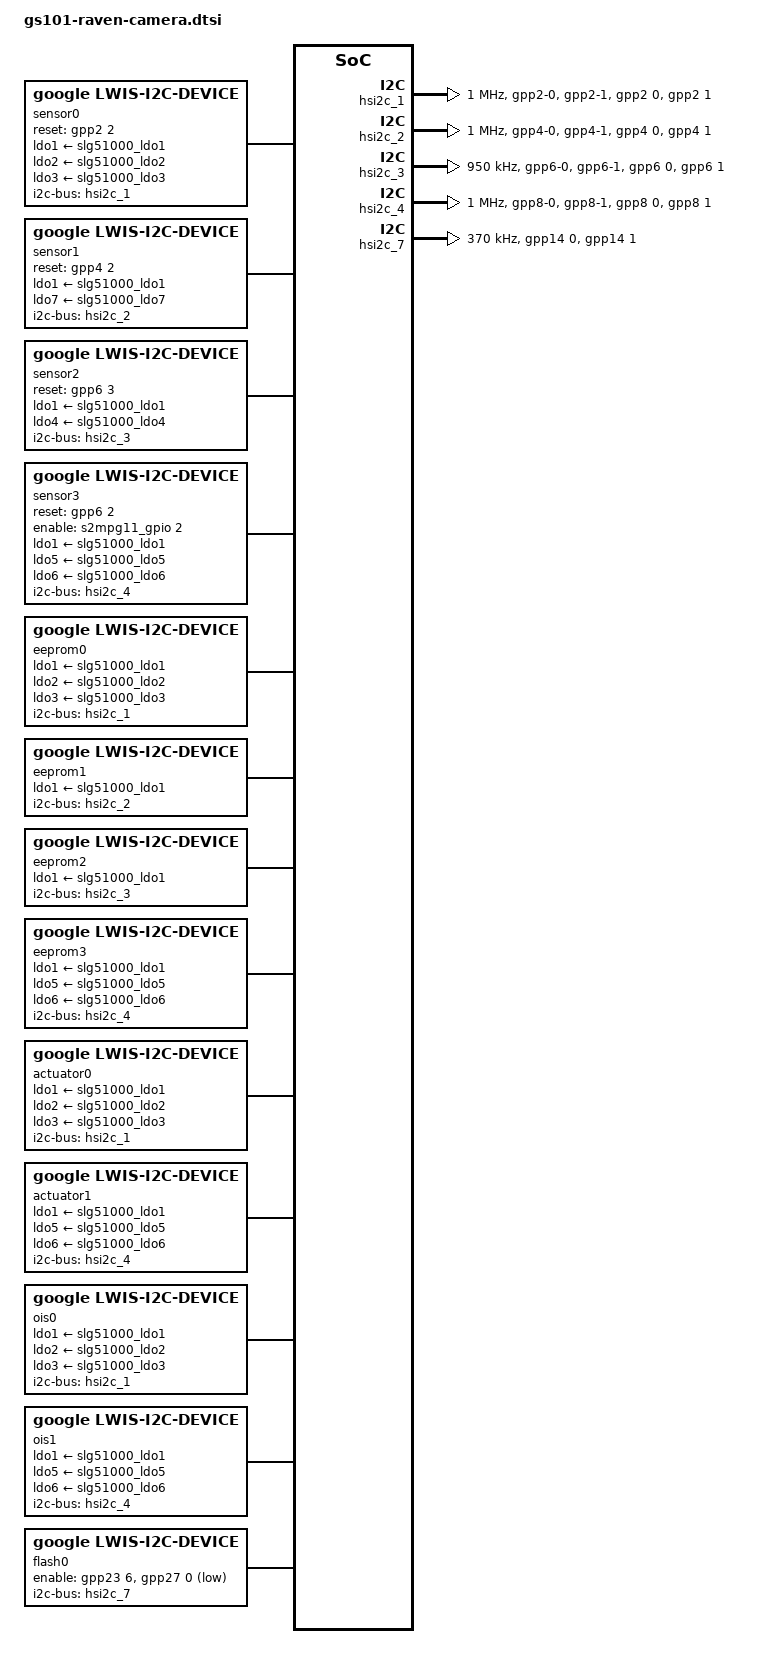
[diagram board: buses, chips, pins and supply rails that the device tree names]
// SPDX-License-Identifier: GPL-2.0-only
/*
 * gs101 camera lwis device tree source for raven
 *
 * Copyright 2020 Google LLC.
 *
 */

#include <dt-bindings/clock/gs101.h>
#include <dt-bindings/gpio/gpio.h>
#include <dt-bindings/pinctrl/samsung.h>

&pinctrl_4 {
	hsi2c1_bus: hsi2c1-bus {
		samsung,pin-pud = <EXYNOS_PIN_PULL_UP>;
	};

	hsi2c1_bus_in: hsi2c1-bus-in {
		samsung,pins = "gpp2-0", "gpp2-1";
		samsung,pin-function = <EXYNOS_PIN_FUNC_INPUT>;
		samsung,pin-pud = <EXYNOS_PIN_PULL_NONE>;
		samsung,pin-drv = <GS101_PIN_DRV_2_5_MA>;
	};

	hsi2c2_bus: hsi2c2-bus {
		samsung,pin-pud = <EXYNOS_PIN_PULL_UP>;
	};

	hsi2c2_bus_in: hsi2c2-bus-in {
		samsung,pins = "gpp4-0", "gpp4-1";
		samsung,pin-function = <EXYNOS_PIN_FUNC_INPUT>;
		samsung,pin-pud = <EXYNOS_PIN_PULL_NONE>;
		samsung,pin-drv = <GS101_PIN_DRV_2_5_MA>;
	};

	hsi2c3_bus: hsi2c3-bus {
		samsung,pin-pud = <EXYNOS_PIN_PULL_UP>;
	};

	hsi2c3_bus_in: hsi2c3-bus-in {
		samsung,pins = "gpp6-0", "gpp6-1";
		samsung,pin-function = <EXYNOS_PIN_FUNC_INPUT>;
		samsung,pin-pud = <EXYNOS_PIN_PULL_NONE>;
		samsung,pin-drv = <GS101_PIN_DRV_2_5_MA>;
	};

	hsi2c4_bus: hsi2c4-bus {
		samsung,pin-pud = <EXYNOS_PIN_PULL_UP>;
	};

	hsi2c4_bus_in: hsi2c4-bus-in {
		samsung,pins = "gpp8-0", "gpp8-1";
		samsung,pin-function = <EXYNOS_PIN_FUNC_INPUT>;
		samsung,pin-pud = <EXYNOS_PIN_PULL_NONE>;
		samsung,pin-drv = <GS101_PIN_DRV_2_5_MA>;
	};
};

&spi14_cs2{
	samsung,pin-con-pdn = <EXYNOS_PIN_PDN_PREV>;
	samsung,pin-pud-pdn = <EXYNOS_PIN_PULL_NONE>;
};

&hsi2c_1 {
	#address-cells = <1>;
	#size-cells = <0>;
	gpios = <&gpp2 0 GPIO_ACTIVE_HIGH &gpp2 1 GPIO_ACTIVE_HIGH>;
	status = "okay";
	clock-frequency = <1000000>;
	samsung,reset-before-trans;

	pinctrl-names = "default","on_i2c","off_i2c";
	pinctrl-0 = <&hsi2c1_bus_in>;
	pinctrl-1 = <&hsi2c1_bus>;
	pinctrl-2 = <&hsi2c1_bus_in>;
};

&hsi2c_2 {
	#address-cells = <1>;
	#size-cells = <0>;
	gpios = <&gpp4 0 GPIO_ACTIVE_HIGH &gpp4 1 GPIO_ACTIVE_HIGH>;
	status = "okay";
	clock-frequency = <1000000>;
	samsung,reset-before-trans;

	pinctrl-names = "default","on_i2c","off_i2c";
	pinctrl-0 = <&hsi2c2_bus_in>;
	pinctrl-1 = <&hsi2c2_bus>;
	pinctrl-2 = <&hsi2c2_bus_in>;
};

&hsi2c_3 {
	#address-cells = <1>;
	#size-cells = <0>;
	gpios = <&gpp6 0 GPIO_ACTIVE_HIGH &gpp6 1 GPIO_ACTIVE_HIGH>;
	status = "okay";
	clock-frequency = <950000>;
	samsung,reset-before-trans;

	pinctrl-names = "default","on_i2c","off_i2c";
	pinctrl-0 = <&hsi2c3_bus_in>;
	pinctrl-1 = <&hsi2c3_bus>;
	pinctrl-2 = <&hsi2c3_bus_in>;
};

&hsi2c_4 {
	#address-cells = <1>;
	#size-cells = <0>;
	gpios = <&gpp8 0 GPIO_ACTIVE_HIGH &gpp8 1 GPIO_ACTIVE_HIGH>;
	status = "okay";
	clock-frequency = <1000000>;
	samsung,reset-before-trans;

	pinctrl-names = "default","on_i2c","off_i2c";
	pinctrl-0 = <&hsi2c4_bus_in>;
	pinctrl-1 = <&hsi2c4_bus>;
	pinctrl-2 = <&hsi2c4_bus_in>;
};

&hsi2c_7 {
	#address-cells = <1>;
	#size-cells = <0>;
	gpios = <&gpp14 0 GPIO_ACTIVE_HIGH &gpp14 1 GPIO_ACTIVE_HIGH>;
	status = "okay";
	clock-frequency = <370000>;

	pinctrl-names = "default","on_i2c","off_i2c";
	pinctrl-0 = <&hsi2c7_bus &spi14_cs2>;
	pinctrl-1 = <&hsi2c7_bus>;
	pinctrl-2 = <&hsi2c7_bus>;
};

/ {
	fragment@lwiscamera {
		target-path = "/";
		__overlay__ {
			/* REAR CAMERA GN1 */
			sensor0: sensor@0 {
				compatible = "google,lwis-i2c-device";

				/* Device node name */
				node-name = "sensor-gn1";

				/* I2C */
				i2c-bus = <&hsi2c_1>;
				i2c-addr = <0x3D>;

				/* Registers */
				reg-addr-bitwidth = <16>;
				reg-value-bitwidth = <16>;

				/* GPIOs */
				/* RCAM_RST_L GPP2[2] */
				reset-gpios = <&gpp2 2 GPIO_ACTIVE_HIGH>;

				/* Power supplies */
				ldo1-supply = <&slg51000_ldo1>;
				ldo2-supply = <&slg51000_ldo2>;
				ldo3-supply = <&slg51000_ldo3>;

				clocks =
					<&clock CIS_CLK3>,
					<&clock GATE_DFTMUX_CMU_CIS_CLK3>;
				clock-names =
					"CIS_CLK3",
					"GATE_DFTMUX_CMU_CIS_CLK3";
				clock-rates =
					<24000000>,
					<0>;

				/* MCLK Control */
				pinctrl-names = "mclk_on", "mclk_off";
				pinctrl-0 = <&sensor_mclk4_fn>;
				pinctrl-1 = <&sensor_mclk4_out>;

				/* Power up sequence */
				power-up-seqs =
					"ldo1",
					"ldo2",
					"ldo3",
					"reset",
					"mclk_on";
				power-up-seq-types =
					"regulator",
					"regulator",
					"regulator",
					"gpio",
					"pinctrl";
				power-up-seq-delays-us =
					<1000
					 1000
					 1000
					 1000
					 9000>;

				/* Power down sequence */
				power-down-seqs =
					"mclk_off",
					"reset",
					"ldo3",
					"ldo2",
					"ldo1";
				power-down-seq-types =
					"pinctrl",
					"gpio",
					"regulator",
					"regulator",
					"regulator";
				power-down-seq-delays-us =
					<1000
					 1000
					 2000
					 1000
					 1000>;
				transaction-thread-priority = <99>;
			};

			/* FRONT CAMERA IMX663 */
			sensor1: sensor@1 {
				compatible = "google,lwis-i2c-device";

				/* Device node name */
				node-name = "sensor-imx663";

				/* I2C */
				i2c-bus = <&hsi2c_2>;
				i2c-addr = <0x1A>;

				/* Registers */
				reg-addr-bitwidth = <16>;
				reg-value-bitwidth = <8>;

				/* GPIOs */
				reset-gpios = <&gpp4 2 GPIO_ACTIVE_HIGH>;

				/* Power supplies */
				ldo1-supply = <&slg51000_ldo1>;
				ldo7-supply = <&slg51000_ldo7>;

				clocks =
					<&clock CIS_CLK1>,
					<&clock GATE_DFTMUX_CMU_CIS_CLK1>;
				clock-names =
					"CIS_CLK1",
					"GATE_DFTMUX_CMU_CIS_CLK1";
				clock-rates =
					<24000000>,
					<0>;

				/* MCLK Control */
				pinctrl-names = "mclk_on", "mclk_off";
				pinctrl-0 = <&sensor_mclk2_fn>;
				pinctrl-1 = <&sensor_mclk2_out>;

				/* Power up sequence */
				power-up-seqs =
					"ldo1",
					"ldo7",
					"mclk_on",
					"reset";
				power-up-seq-types =
					"regulator",
					"regulator",
					"pinctrl",
					"gpio";
				power-up-seq-delays-us =
					<1000
					 1000
					 1000
					 8000>;

				/* Power down sequence */
				power-down-seqs =
					"reset",
					"mclk_off",
					"ldo7",
					"ldo1";
				power-down-seq-types =
					"gpio",
					"pinctrl",
					"regulator",
					"regulator";
				power-down-seq-delays-us =
					<1000
					 1000
					 1000
					 1000>;
				transaction-thread-priority = <99>;
			};

			/* REAR ULTRA WIDE CAMERA IMX386 */
			sensor2: sensor@2 {
				compatible = "google,lwis-i2c-device";

				/* Device node name */
				node-name = "sensor-imx386";

				/* I2C */
				i2c-bus = <&hsi2c_3>;
				i2c-addr = <0x1A>;

				/* Registers */
				reg-addr-bitwidth = <16>;
				reg-value-bitwidth = <8>;

				/* GPIOs */
				reset-gpios = <&gpp6 3 GPIO_ACTIVE_HIGH>;

				/* Power supplies */
				ldo1-supply = <&slg51000_ldo1>;
				ldo4-supply = <&slg51000_ldo4>;

				clocks =
					<&clock CIS_CLK0>,
					<&clock GATE_DFTMUX_CMU_CIS_CLK0>;
				clock-names =
					"CIS_CLK0",
					"GATE_DFTMUX_CMU_CIS_CLK0";
				clock-rates =
					<24000000>,
					<0>;

				/* MCLK Control */
				pinctrl-names = "mclk_on", "mclk_off";
				pinctrl-0 = <&sensor_mclk1_fn>;
				pinctrl-1 = <&sensor_mclk1_out>;

				/* Power up sequence */
				power-up-seqs =
					"ldo1",
					"ldo4",
					"mclk_on",
					"reset";
				power-up-seq-types =
					"regulator",
					"regulator",
					"pinctrl",
					"gpio";
				power-up-seq-delays-us =
					<3000
					 1000
					 1000
					 10000>;

				/* Power down sequence */
				power-down-seqs =
					"reset",
					"mclk_off",
					"ldo4",
					"ldo1";
				power-down-seq-types =
					"gpio",
					"pinctrl",
					"regulator",
					"regulator";
				power-down-seq-delays-us =
					<1000
					 1000
					 3000
					 1000>;
				transaction-thread-priority = <99>;
			};

			/* REAR CAMERA IMX586 */
			sensor3: sensor@3 {
				compatible = "google,lwis-i2c-device";

				/* Device node name */
				node-name = "sensor-imx586";

				/* I2C */
				i2c-bus = <&hsi2c_4>;
				i2c-addr = <0x1A>;

				/* Registers */
				reg-addr-bitwidth = <16>;
				reg-value-bitwidth = <8>;

				/* GPIOs */
				/* RTCAM_RST_L GPP6[2] */
				reset-gpios = <&gpp6 2 GPIO_ACTIVE_HIGH>;

				/* Power supplies */
				ldo1-supply = <&slg51000_ldo1>;
				ldo5-supply = <&slg51000_ldo5>;
				ldo6-supply = <&slg51000_ldo6>;

				/* RTCAM_EN_S2MPG11 GPIO8 */
				enable-gpios =
					<&s2mpg11_gpio 2 GPIO_ACTIVE_HIGH>;

				clocks =
					<&clock CIS_CLK2>,
					<&clock GATE_DFTMUX_CMU_CIS_CLK2>;
				clock-names =
					"CIS_CLK2",
					"GATE_DFTMUX_CMU_CIS_CLK2";
				clock-rates =
					<24000000>,
					<0>;

				/* MCLK Control */
				pinctrl-names = "mclk_on", "mclk_off";
				pinctrl-0 = <&sensor_mclk3_fn>;
				pinctrl-1 = <&sensor_mclk3_out>;

				/* Power up sequence */
				power-up-seqs =
					"ldo1",
					"ldo5",
					"enable",
					"ldo6",
					"mclk_on",
					"reset";
				power-up-seq-types =
					"regulator",
					"regulator",
					"gpio",
					"regulator",
					"pinctrl",
					"gpio";
				power-up-seq-delays-us =
					<1000
					 3000
					 1000
					 0
					 0
					 8000>;

				/* Power down sequence */
				power-down-seqs =
					"reset",
					"mclk_off",
					"ldo6",
					"enable",
					"ldo5",
					"ldo1";
				power-down-seq-types =
					"gpio",
					"pinctrl",
					"regulator",
					"gpio",
					"regulator",
					"regulator";
				power-down-seq-delays-us =
					<0
					 1000
					 1000
					 3000
					 1000
					 1000>;
				transaction-thread-priority = <99>;
			};

			/* Eeprom lc898128 for gn1*/
			eeprom0: eeprom@0 {
				compatible = "google,lwis-i2c-device";

				/* Device node name */
				node-name = "eeprom-lc898128";

				/* I2C */
				i2c-bus = <&hsi2c_1>;
				i2c-addr = <0x24>;

				/* Registers */
				reg-addr-bitwidth = <16>;
				reg-value-bitwidth = <32>;

				/* Power supplies */
				ldo1-supply = <&slg51000_ldo1>;
				ldo2-supply = <&slg51000_ldo2>;
				ldo3-supply = <&slg51000_ldo3>;

				/* Power up sequence */
				power-up-seqs =
					"ldo1",
					"ldo2",
					"ldo3";
				power-up-seq-types =
					"regulator",
					"regulator",
					"regulator";
				power-up-seq-delays-us =
					<1000
					 1000
					 1000>;

				/* Power down sequence */
				power-down-seqs =
					"ldo3",
					"ldo2",
					"ldo1";
				power-down-seq-types =
					"regulator",
					"regulator",
					"regulator";
				power-down-seq-delays-us =
					<2000
					 1000
					 1000>;
			};

			/* Eeprom m24c64x for imx663 */
			eeprom1: eeprom@1 {
				compatible = "google,lwis-i2c-device";

				/* Device node name */
				node-name = "eeprom-m24c64x-imx663";

				/* I2C */
				i2c-bus = <&hsi2c_2>;
				i2c-addr = <0x51>;

				/* Access mode property*/
				lwis,read-only;

				/* Registers */
				reg-addr-bitwidth = <16>;
				reg-value-bitwidth = <8>;

				/* Power supplies */
				ldo1-supply = <&slg51000_ldo1>;

				/* Power up sequence */
				power-up-seqs =
					"ldo1";
				power-up-seq-types =
					"regulator";
				power-up-seq-delays-us =
					<1000>;

				/* Power down sequence */
				power-down-seqs =
					"ldo1";
				power-down-seq-types =
					"regulator";
				power-down-seq-delays-us =
					<1000>;
			};

			/* Eeprom m24c64x for imx386 */
			eeprom2: eeprom@2 {
				compatible = "google,lwis-i2c-device";

				/* Device node name */
				node-name = "eeprom-m24c64x-imx386";

				/* I2C */
				i2c-bus = <&hsi2c_3>;
				i2c-addr = <0x50>;

				/* Registers */
				reg-addr-bitwidth = <16>;
				reg-value-bitwidth = <8>;

				/* Access mode property*/
				lwis,read-only;

				/* Power supplies */
				ldo1-supply = <&slg51000_ldo1>;

				/* Power up sequence */
				power-up-seqs =
					"ldo1";
				power-up-seq-types =
					"regulator";
				power-up-seq-delays-us =
					<1000>;

				/* Power down sequence */
				power-down-seqs =
					"ldo1";
				power-down-seq-types =
					"regulator";
				power-down-seq-delays-us =
					<1000>;
			};

			/* Eeprom sem1215sa for imx586*/
			eeprom3: eeprom@3 {
				compatible = "google,lwis-i2c-device";

				/* Device node name */
				node-name = "eeprom-sem1215sa";

				/* I2C */
				i2c-bus = <&hsi2c_4>;
				i2c-addr = <0x34>;

				/* Registers */
				reg-addr-bitwidth = <16>;
				reg-value-bitwidth = <8>;

				/* Power supplies */
				ldo1-supply = <&slg51000_ldo1>;
				ldo5-supply = <&slg51000_ldo5>;
				ldo6-supply = <&slg51000_ldo6>;

				/* Power up sequence */
				power-up-seqs =
					"ldo1",
					"ldo5",
					"ldo6";
				power-up-seq-types =
					"regulator",
					"regulator",
					"regulator";
				power-up-seq-delays-us =
					<1000
					 4000
					 0000>;

				/* Power down sequence */
				power-down-seqs =
					"ldo6",
					"ldo5",
					"ldo1";
				power-down-seq-types =
					"regulator",
					"regulator",
					"regulator";
				power-down-seq-delays-us =
					<1000
					 4000
					 1000>;
			};

			/* Actuator ak7377 for gn1*/
			actuator0: actuator@0 {
				compatible = "google,lwis-i2c-device";

				/* Device node name */
				node-name = "act-ak7377";

				/* I2C */
				i2c-bus = <&hsi2c_1>;
				i2c-addr = <0xC>;

				/* Registers */
				reg-addr-bitwidth = <8>;
				reg-value-bitwidth = <8>;

				/* Power supplies */
				ldo1-supply = <&slg51000_ldo1>;
				ldo2-supply = <&slg51000_ldo2>;
				ldo3-supply = <&slg51000_ldo3>;

				/* Power up sequence */
				power-up-seqs =
					"ldo1",
					"ldo2",
					"ldo3";
				power-up-seq-types =
					"regulator",
					"regulator",
					"regulator";
				power-up-seq-delays-us =
					<1000
					 1000
					 1000>;

				/* Power down sequence */
				power-down-seqs =
					"ldo3",
					"ldo2",
					"ldo1";
				power-down-seq-types =
					"regulator",
					"regulator",
					"regulator";
				power-down-seq-delays-us =
					<2000
					 1000
					 1000>;

				/* Thread priority */
				periodic-io-thread-priority = <99>;
			};

			/* Actuator sem1215sa for imx586*/
			actuator1: actuator@1 {
				compatible = "google,lwis-i2c-device";

				/* Device node name */
				node-name = "act-sem1215sa";

				/* I2C */
				i2c-bus = <&hsi2c_4>;
				i2c-addr = <0x34>;

				/* Registers */
				reg-addr-bitwidth = <16>;
				reg-value-bitwidth = <8>;

				/* Power supplies */
				ldo1-supply = <&slg51000_ldo1>;
				ldo5-supply = <&slg51000_ldo5>;
				ldo6-supply = <&slg51000_ldo6>;

				/* Power up sequence */
				power-up-seqs =
					"ldo1",
					"ldo5",
					"ldo6";
				power-up-seq-types =
					"regulator",
					"regulator",
					"regulator";
				power-up-seq-delays-us =
					<1000
					 4000
					 0000>;

				/* Power down sequence */
				power-down-seqs =
					"ldo6",
					"ldo5",
					"ldo1";
				power-down-seq-types =
					"regulator",
					"regulator",
					"regulator";
				power-down-seq-delays-us =
					<1000
					 4000
					 1000>;

				/* Thread priority */
				periodic-io-thread-priority = <99>;
			};

			/* Ois lc898128 for gn1*/
			ois0: ois@0 {
				compatible = "google,lwis-i2c-device";

				/* Device node name */
				node-name = "ois-lc898128";

				/* I2C */
				i2c-bus = <&hsi2c_1>;
				i2c-addr = <0x24>;

				/* Registers */
				reg-addr-bitwidth = <16>;
				reg-value-bitwidth = <32>;

				/* Power supplies */
				ldo1-supply = <&slg51000_ldo1>;
				ldo2-supply = <&slg51000_ldo2>;
				ldo3-supply = <&slg51000_ldo3>;

				/* Power up sequence */
				power-up-seqs =
					"ldo1",
					"ldo2",
					"ldo3";
				power-up-seq-types =
					"regulator",
					"regulator",
					"regulator";
				power-up-seq-delays-us =
					<1000
					 1000
					 1000>;

				/* Power down sequence */
				power-down-seqs =
					"ldo3",
					"ldo2",
					"ldo1";
				power-down-seq-types =
					"regulator",
					"regulator",
					"regulator";
				power-down-seq-delays-us =
					<2000
					 1000
					 1000>;

				/* Thread priority */
				periodic-io-thread-priority = <99>;
			};

			/* Ois sem1215sa for imx586*/
			ois1: ois@1 {
				compatible = "google,lwis-i2c-device";

				/* Device node name */
				node-name = "ois-sem1215sa";

				/* I2C */
				i2c-bus = <&hsi2c_4>;
				i2c-addr = <0x34>;

				/* Registers */
				reg-addr-bitwidth = <16>;
				reg-value-bitwidth = <8>;

				/* Power supplies */
				ldo1-supply = <&slg51000_ldo1>;
				ldo5-supply = <&slg51000_ldo5>;
				ldo6-supply = <&slg51000_ldo6>;

				/* Power up sequence */
				power-up-seqs =
					"ldo1",
					"ldo5",
					"ldo6";
				power-up-seq-types =
					"regulator",
					"regulator",
					"regulator";
				power-up-seq-delays-us =
					<1000
					 4000
					 0000>;

				/* Power down sequence */
				power-down-seqs =
					"ldo6",
					"ldo5",
					"ldo1";
				power-down-seq-types =
					"regulator",
					"regulator",
					"regulator";
				power-down-seq-delays-us =
					<1000
					 4000
					 1000>;

				/* Thread priority */
				periodic-io-thread-priority = <99>;
			};

			flash0: flash@0 {
				compatible = "google,lwis-i2c-device";

				/* Device node name */
				node-name = "flash-lm3644";

				/* I2C */
				i2c-bus = <&hsi2c_7>;
				i2c-addr = <0x63>;

				/* Registers */
				reg-addr-bitwidth = <8>;
				reg-value-bitwidth = <8>;

				/* Power Management hibernation (deep sleep) */
				/* 1 : enable, 0 : disable */
				pm-hibernation = <0>;

				/* GPIOs */
				/* HW_ENABLE GPP23[6] */
				/* FLASH_STROBE GPP27[0] */
				enable-gpios =
					<&gpp23 6 GPIO_ACTIVE_HIGH
					 &gpp27 0 GPIO_ACTIVE_LOW>;
			};
		};
	};
};
